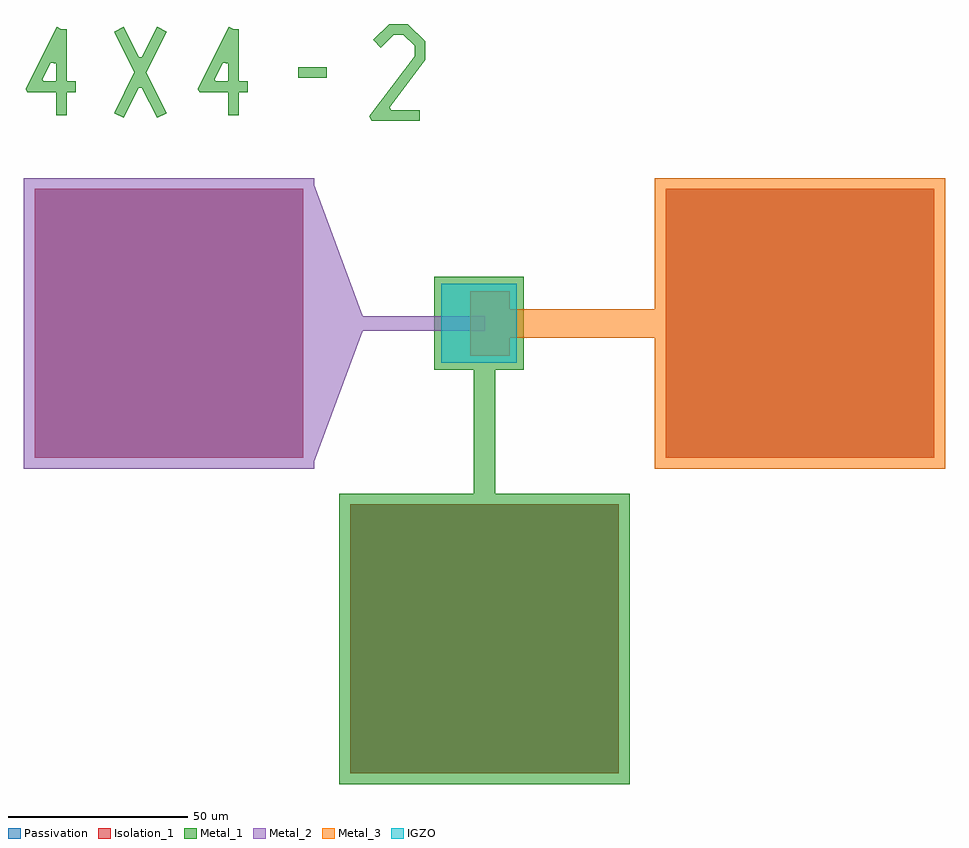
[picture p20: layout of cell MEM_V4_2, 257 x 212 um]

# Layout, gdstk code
import gdstk
lib = gdstk.Library(unit=1e-6, precision=1e-09)
def R(c, l, rs):  # rectangles x0, y0, x1, y1
    for r in rs: c.add(gdstk.rectangle(r[:2], r[2:], *l))
def P(c, l, *ps):  # polygons
    for p in ps: c.add(gdstk.Polygon(p, *l))
Metal_1 = (1, 0)
Isolation_1 = (2, 0)
Metal_2 = (3, 0)
IGZO = (4, 0)
Metal_3 = (5, 0)
Passivation = (6, 0)

mem_v4_2 = lib.new_cell('MEM_V4_2')
R(mem_v4_2, Metal_1, [(87.5,-0.5,168.5,80.5), (76,196.5,84,199.5)])
P(mem_v4_2, Metal_1, [(96.499,184.5),(95.9,185.7),(108.5,202.5),(108.5,205.378),(105.378,208.5),(102.622,208.5),(99.061,204.939),(96.939,207.061),(101.378,211.5),(106.622,211.5),(111.5,206.622),(111.5,201.5),(101.6,188.3),(102,187.5),(110,187.5),(110,184.5)],
  [(27.342,185.328),(24.657,186.671),(30.322,198),(24.657,209.329),(27.342,210.672),(31.553,202.248),(32.447,202.248),(36.658,210.672),(39.343,209.329),(33.677,198),(39.343,186.671),(36.658,185.328),(32.447,193.752),(31.553,193.752)],
  [(8.5,186),(8.5,192.5),(0.5,192.5),(-0.013,193.33),(3.698,200.752),(7.053,200.752),(4.703,196.053),(5.045,195.5),(8.5,195.5),(8.5,200.41),(7.053,200.752),(3.698,200.752),(8.658,210.671),(9.999,210),(11.5,210),(11.5,195.5),(14,195.5),(14,192.5),(11.5,192.5),(11.5,186)],
  [(56.5,186),(56.5,192.5),(48.5,192.5),(47.987,193.33),(51.698,200.752),(55.053,200.752),(52.703,196.053),(53.045,195.5),(56.5,195.5),(56.5,200.41),(55.053,200.752),(51.698,200.752),(56.658,210.671),(57.999,210),(59.5,210),(59.5,195.5),(62,195.5),(62,192.5),(59.5,192.5),(59.5,186)],
  [(88,0),(88,80),(125,80),(125,115),(114,115),(114,141),(139,141),(139,115),(131,115),(131,80),(168,80),(168,0)])
R(mem_v4_2, Isolation_1, [(90.5,2.5,165.5,77.5), (2.5,90.5,77.5,165.5), (178.5,90.5,253.5,165.5)])
R(mem_v4_2, Metal_2, [(-0.5,87.5,80.5,168.5), (0,88,80,168)])
P(mem_v4_2, Metal_2, [(80,88),(80,168),(94,130),(128,130),(128,126),(94,126)])
R(mem_v4_2, IGZO, [(116,117,137,139)])
R(mem_v4_2, Metal_3, [(175.5,87.5,256.5,168.5)])
P(mem_v4_2, Metal_3, [(176,88),(176,124),(135,124),(135,119),(124,119),(124,137),(135,137),(135,132),(176,132),(176,168),(256,168),(256,88)])
R(mem_v4_2, Passivation, [(90.5,2.5,165.5,77.5), (2.5,90.5,77.5,165.5), (178.5,90.5,253.5,165.5)])

lib.write_gds('MEM_V4_2.gds')
